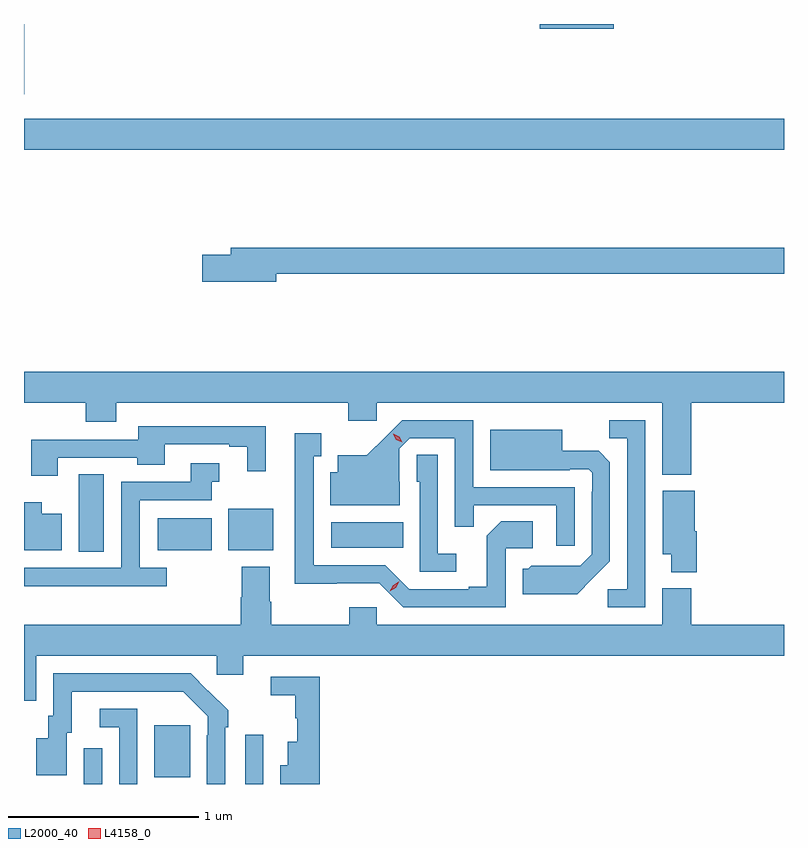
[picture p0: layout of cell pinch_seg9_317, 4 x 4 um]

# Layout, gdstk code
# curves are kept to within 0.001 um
import gdstk
lib = gdstk.Library(unit=1e-6, precision=1e-09)
def R(c, l, rs):  # rectangles x0, y0, x1, y1
    for r in rs: c.add(gdstk.rectangle(r[:2], r[2:], *l))
def P(c, l, *ps):  # polygons
    for p in ps: c.add(gdstk.Polygon(p, *l))
L2000_40 = (2000, 40)
L4158_0 = (4158, 0)

pinch_seg9_317 = lib.new_cell('pinch_seg9_317')
R(pinch_seg9_317, L2000_40, [(604.494,1205.07,604.59,1205.257), (605.343,1205.07,605.439,1205.329), (604.865,1205.105,605.053,1205.38), (604.466,1206.292,604.6,1206.701), (604.883,1206.299,605.167,1206.469), (605.255,1206.299,605.491,1206.52), (605.796,1206.314,606.176,1206.448), (604.179,1208.408,608.179,1208.572), (604.179,1208.7,604.181,1209.07), (606.894,1209.046,607.282,1209.07)])
P(pinch_seg9_317, L2000_40, [(605.506,1207.756),(608.179,1207.756),(608.179,1207.892),(605.267,1207.892),(605.267,1207.856),(605.118,1207.856),(605.118,1207.714),(605.506,1207.714)],
  [(607.691,1207.076),(608.179,1207.076),(608.179,1207.24),(604.179,1207.24),(604.179,1207.076),(604.504,1207.076),(604.504,1206.977),(604.664,1206.977),(604.664,1207.076),(605.885,1207.076),(605.885,1206.981),(606.036,1206.981),(606.036,1207.076),(607.538,1207.076),(607.538,1206.698),(607.691,1206.698)],
  [(607.449,1206.984),(607.258,1206.984),(607.258,1206.889),(607.353,1206.889),(607.353,1206.096),(607.251,1206.096),(607.251,1206),(607.449,1206)],
  [(607.077,1206.633),(606.543,1206.633),(606.543,1206.984),(606.17,1206.984),(605.983,1206.799),(605.831,1206.799),(605.831,1206.712),(605.792,1206.712),(605.792,1206.536),(606.157,1206.536),(606.157,1206.66),(606.153,1206.66),(606.153,1206.834),(606.21,1206.891),(606.447,1206.891),(606.447,1206.424),(606.545,1206.424),(606.545,1206.537),(606.981,1206.537),(606.981,1206.324),(607.077,1206.324)],
  [(604.357,1206.786),(604.774,1206.786),(604.774,1206.749),(604.921,1206.749),(604.921,1206.858),(605.258,1206.858),(605.258,1206.846),(605.354,1206.846),(605.354,1206.717),(605.452,1206.717),(605.452,1206.954),(604.781,1206.954),(604.781,1206.882),(604.217,1206.882),(604.217,1206.693),(604.357,1206.693)],
  [(607.171,1206.149),(607.263,1206.242),(607.263,1206.764),(607.204,1206.823),(607.012,1206.823),(607.012,1206.934),(606.632,1206.934),(606.632,1206.722),(607.052,1206.722),(607.052,1206.726),(607.152,1206.726),(607.17,1206.708),(607.17,1206.608),(607.167,1206.608),(607.167,1206.279),(607.107,1206.219),(606.85,1206.22),(606.834,1206.204),(606.803,1206.204),(606.803,1206.068),(607.091,1206.068)],
  [(606.714,1206.312),(606.856,1206.312),(606.856,1206.452),(606.691,1206.452),(606.615,1206.376),(606.615,1206.109),(606.521,1206.109),(606.521,1206.096),(606.207,1206.096),(606.081,1206.222),(605.704,1206.222),(605.704,1206.795),(605.743,1206.795),(605.743,1206.916),(605.603,1206.916),(605.603,1206.125),(606.048,1206.126),(606.174,1206),(606.714,1206)],
  [(606.454,1206.283),(606.357,1206.283),(606.357,1206.803),(606.246,1206.803),(606.246,1206.66),(606.261,1206.66),(606.261,1206.186),(606.454,1206.186)],
  [(604.93,1206.207),(604.788,1206.207),(604.788,1206.564),(605.167,1206.564),(605.167,1206.662),(605.206,1206.662),(605.206,1206.759),(605.057,1206.759),(605.057,1206.66),(604.692,1206.66),(604.692,1206.207),(604.179,1206.207),(604.179,1206.11),(604.93,1206.11)],
  [(607.721,1206.399),(607.708,1206.399),(607.708,1206.613),(607.541,1206.613),(607.541,1206.278),(607.586,1206.278),(607.586,1206.185),(607.721,1206.185)],
  [(604.378,1206.493),(604.273,1206.493),(604.273,1206.553),(604.179,1206.553),(604.179,1206.299),(604.378,1206.299)],
  [(604.243,1205.744),(605.193,1205.744),(605.193,1205.646),(605.332,1205.646),(605.332,1205.744),(608.179,1205.744),(608.179,1205.908),(607.691,1205.908),(607.691,1206.1),(607.538,1206.1),(607.538,1205.908),(606.036,1205.908),(606.036,1206.001),(605.89,1206.001),(605.89,1205.908),(605.481,1205.908),(605.481,1206.029),(605.473,1206.029),(605.473,1206.214),(605.326,1206.214),(605.326,1206.053),(605.321,1206.053),(605.321,1205.908),(604.179,1205.908),(604.179,1205.509),(604.243,1205.509)],
  [(605.238,1205.369),(605.253,1205.369),(605.253,1205.457),(605.056,1205.652),(604.332,1205.652),(604.332,1205.43),(604.307,1205.43),(604.307,1205.311),(604.244,1205.311),(604.244,1205.115),(604.405,1205.115),(604.405,1205.34),(604.429,1205.34),(604.429,1205.556),(605.017,1205.556),(605.145,1205.427),(605.145,1205.327),(605.142,1205.327),(605.142,1205.07),(605.238,1205.07)],
  [(605.735,1205.634),(605.478,1205.634),(605.478,1205.536),(605.607,1205.536),(605.607,1205.415),(605.618,1205.415),(605.618,1205.293),(605.567,1205.293),(605.567,1205.17),(605.528,1205.17),(605.528,1205.07),(605.735,1205.07)],
  [(604.776,1205.466),(604.578,1205.466),(604.578,1205.37),(604.68,1205.37),(604.68,1205.07),(604.776,1205.07)])
P(pinch_seg9_317, L4158_0, [(606.17,1206.868),(606.139,1206.883),(606.122,1206.912),(606.122,1206.913),(606.122,1206.913),(606.153,1206.898),(606.17,1206.868),(606.17,1206.868)],
  [(606.104,1206.084),(606.104,1206.084),(606.122,1206.117),(606.153,1206.136),(606.153,1206.136),(606.153,1206.136),(606.136,1206.103),(606.105,1206.084)])

lib.write_gds('pinch_seg9_317.gds')
